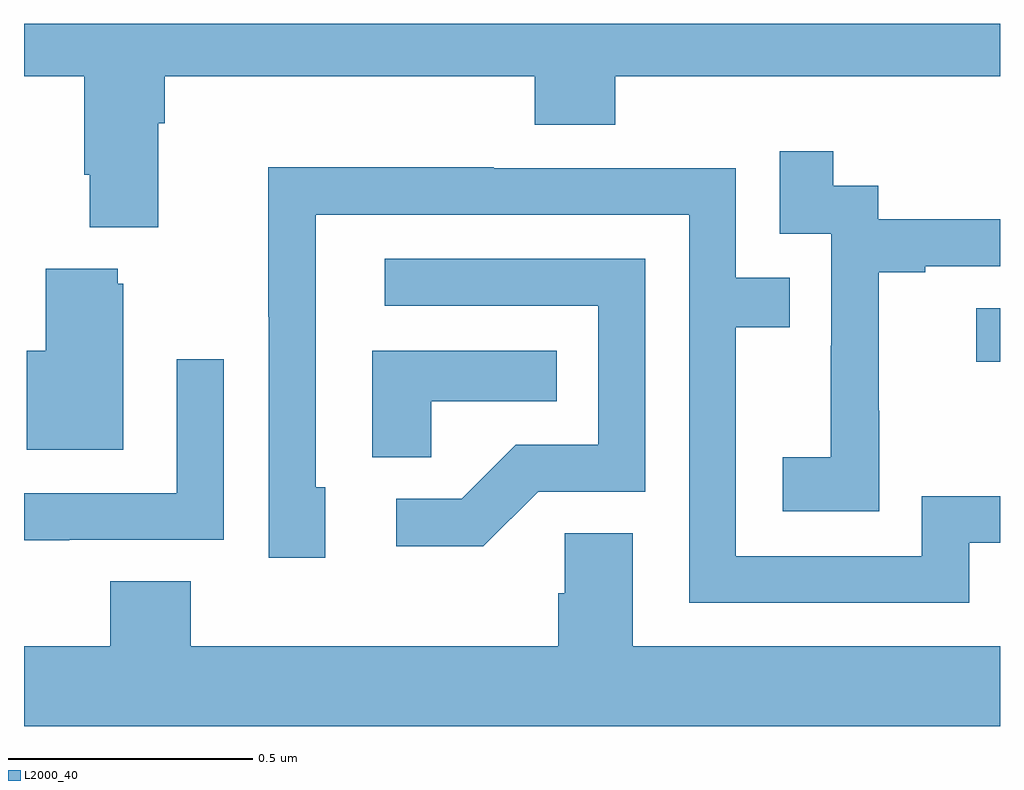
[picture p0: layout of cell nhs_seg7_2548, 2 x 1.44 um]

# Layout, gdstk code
import gdstk
lib = gdstk.Library(unit=1e-6, precision=1e-09)
def R(c, l, rs):  # rectangles x0, y0, x1, y1
    for r in rs: c.add(gdstk.rectangle(r[:2], r[2:], *l))
def P(c, l, *ps):  # polygons
    for p in ps: c.add(gdstk.Polygon(p, *l))
L2000_40 = (2000, 40)

nhs_seg7_2548 = lib.new_cell('nhs_seg7_2548')
R(nhs_seg7_2548, L2000_40, [(147.951,1057.307,148,1057.417)])
P(nhs_seg7_2548, L2000_40, [(146.275,1057.796),(146.288,1057.796),(146.288,1057.892),(147.047,1057.892),(147.047,1057.793),(147.212,1057.793),(147.212,1057.892),(148,1057.892),(148,1058),(146,1058),(146,1057.892),(146.123,1057.892),(146.123,1057.69),(146.135,1057.69),(146.135,1057.583),(146.275,1057.583)],
  [(147.753,1057.207),(147.752,1057.207),(147.752,1057.491),(147.847,1057.491),(147.847,1057.503),(148,1057.503),(148,1057.599),(147.75,1057.599),(147.75,1057.668),(147.658,1057.668),(147.658,1057.738),(147.549,1057.738),(147.549,1057.569),(147.654,1057.569),(147.654,1057.34),(147.653,1057.34),(147.653,1057.111),(147.555,1057.111),(147.555,1057.001),(147.753,1057.001)],
  [(147.937,1056.936),(148,1056.936),(148,1057.032),(147.84,1057.032),(147.84,1056.909),(147.459,1056.909),(147.459,1057.378),(147.569,1057.378),(147.569,1057.479),(147.459,1057.479),(147.459,1057.704),(146.963,1057.704),(146.963,1057.706),(146.5,1057.706),(146.5,1057.399),(146.502,1057.399),(146.502,1056.906),(146.617,1056.906),(146.617,1057.05),(146.598,1057.05),(146.598,1057.608),(147.363,1057.608),(147.363,1056.813),(147.937,1056.813)],
  [(147.054,1057.041),(147.273,1057.041),(147.273,1057.518),(146.739,1057.518),(146.739,1057.422),(147.177,1057.422),(147.177,1057.137),(147.008,1057.137),(146.897,1057.026),(146.763,1057.026),(146.763,1056.929),(146.941,1056.929)],
  [(146.203,1057.467),(146.192,1057.467),(146.192,1057.498),(146.045,1057.498),(146.045,1057.33),(146.006,1057.33),(146.006,1057.127),(146.203,1057.127)],
  [(146.835,1057.226),(147.092,1057.226),(147.092,1057.33),(146.714,1057.33),(146.714,1057.111),(146.835,1057.111)],
  [(146.093,1056.942),(146.409,1056.942),(146.409,1057.312),(146.313,1057.312),(146.313,1057.038),(146,1057.038),(146,1056.941),(146.093,1056.941)],
  [(148,1056.724),(147.247,1056.724),(147.247,1056.956),(147.108,1056.956),(147.108,1056.833),(147.095,1056.833),(147.095,1056.724),(146.342,1056.724),(146.342,1056.857),(146.177,1056.857),(146.177,1056.724),(146,1056.724),(146,1056.56),(148,1056.56)])

lib.write_gds('nhs_seg7_2548.gds')
